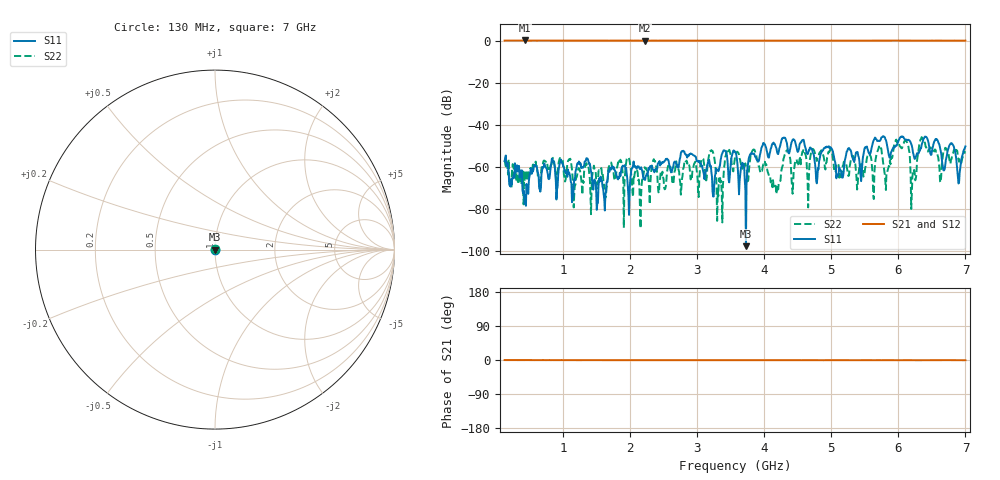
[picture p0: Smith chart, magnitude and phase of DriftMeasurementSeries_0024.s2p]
# Hz S RI R 50.000000
! Metas.Vna.Tools, 2.8.8664.20301
! Metas.Vna.Data, 2.8.8664.20285
! Created: UTC 2024.02.11 10:08:13
! FREQ  re:S1,1  im:S1,1  re:S2,1  im:S2,1  re:S1,2  im:S1,2  re:S2,2  im:S2,2
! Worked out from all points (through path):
!   801 points, 130 MHz to 7 GHz, reference 50 ohm
!   highest |S21| = 0.04 dB at 439.1 MHz (marker M1); lowest = -0.1 dB at 2.217 GHz (marker M2)
!   lowest |S11| = -97.7 dB at 3.728 GHz (marker M3), VSWR 1.00, Z = 50 + j0.000617 ohm
!   |S11| at or under -10 dB: start of sweep to end of sweep
!   |S22| runs from -89.2 to -45.9 dB; largest |S21 - S12| = 0.0099
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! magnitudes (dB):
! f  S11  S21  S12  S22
! 130 MHz  -57.3  0.0  0.0  -56.9
! 439.1 MHz  -73.7  0.0  0.0  -66.0
! 576.5 MHz  -59.1  0.0  0.0  -58.8
! 1.281 GHz  -60.0  0.0  0.0  -68.5
! 1.487 GHz  -67.0  0.0  0.0  -61.8
! 2.217 GHz  -65.5  -0.1  0.0  -60.2
! 2.423 GHz  -58.1  0.0  0.0  -71.9
! 3.247 GHz  -74.1  0.0  0.0  -54.1
! 3.333 GHz  -60.1  0.0  0.0  -67.0
! 3.565 GHz  -52.7  0.0  0.0  -55.3
! 3.728 GHz  -97.7  0.0  0.0  -59.7
! 3.848 GHz  -53.8  0.0  0.0  -51.8
! 4.175 GHz  -50.6  0.0  0.0  -69.9
! 4.329 GHz  -47.8  0.0  0.0  -52.7
! 4.432 GHz  -46.9  0.0  0.0  -67.7
! 4.716 GHz  -52.0  0.0  0.0  -51.8
! 5.858 GHz  -54.4  0.0  0.0  -59.7
! 5.978 GHz  -49.9  0.0  0.0  -48.3
! 6.227 GHz  -54.2  0.0  0.0  -62.7
! 6.347 GHz  -49.7  0.0  0.0  -45.9
! 6.906 GHz  -67.5  0.0  0.0  -57.6
! 7 GHz  -50.3  -0.1  0.0  -53.0
